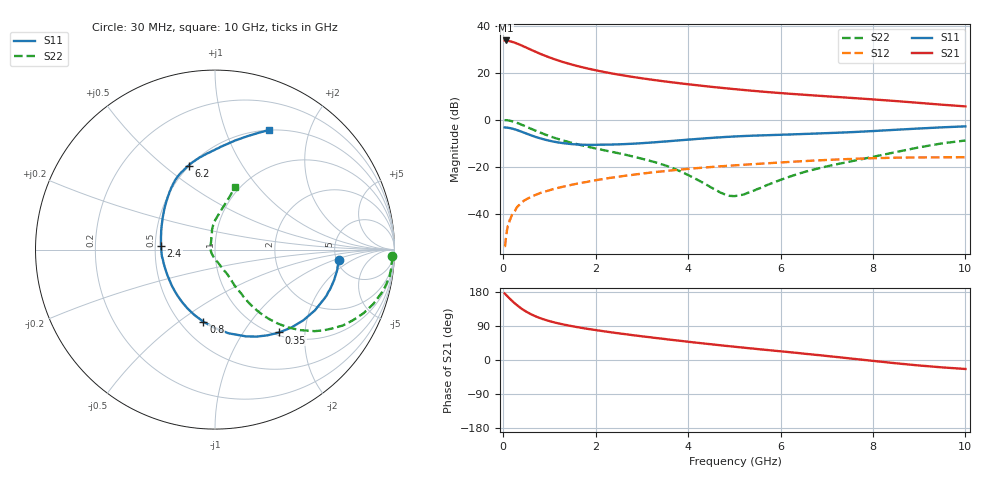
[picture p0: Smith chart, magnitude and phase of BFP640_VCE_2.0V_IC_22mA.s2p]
! Infineon Technologies  Discrete & RF Semiconductors
! BFP640
! VCE =  2.0 V,  IC =  22 mA
! Common Emitter S-Parameters:  Apr 2013
# GHz  S  MA  R  50
!  f  S11  S21  S12  S22
! GHz  MAG  ANG  MAG  ANG  MAG  ANG  MAG  ANG
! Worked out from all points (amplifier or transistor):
!   99 points, 30 MHz to 10 GHz, reference 50 ohm
!   highest |S21| = 33.7 dB at 50 MHz (marker M1)
!   |S21| within 3 dB of that: start of sweep to 496.3 MHz
!   unconditionally stable (mu >= 1): 2.622 GHz to end of sweep
!   at 350 MHz: K = 0.30, MSG = 34.0 dB, |S12| = -36.0 dB
!   at 3.5 GHz: K = 1.04, MAG = 17.8 dB, |S12| = -21.7 dB
!   at 10 GHz: K = 1.07, MAG = 9.2 dB, |S12| = -15.8 dB
!   S11 on the Smith chart (normalised r, x): 30 MHz: 5.30, -1.14; 350 MHz: 1.05, -1.48; 800 MHz: 0.64, -0.62; 2.4 GHz: 0.54, +0.02; 6.2 GHz: 0.49, +0.61; 10 GHz: 0.50, +1.42
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0.03  0.6949 -4.6  48.35 175.7  0.0021 73.5  0.9878 -2.1
0.05  0.6897 -7.7  48.44 173.4  0.0026 94.6  0.9874 -4.4
0.11  0.6801 -17.5  47.47 165.8  0.0057 79.3  0.9769 -10.5
0.15  0.6684 -23.9  46.54 160.9  0.0077 79.0  0.9595 -14.5
0.2  0.6515 -31.3  44.99 155.1  0.0103 76.7  0.9325 -19.0
0.25  0.6307 -38.6  43.42 149.6  0.0116 74.3  0.9002 -23.2
0.35  0.5844 -52.2  39.68 139.7  0.0158 69.5  0.8282 -30.7
0.45  0.5373 -64.4  35.94 131.2  0.0194 65.9  0.7544 -36.6
0.6  0.4724 -80.8  30.81 120.8  0.0234 62.4  0.6502 -43.6
0.7  0.4355 -90.5  27.87 115.2  0.0257 60.9  0.5911 -47.0
0.8  0.4069 -99.2  25.27 110.4  0.0281 59.4  0.5394 -49.7
1  0.3618 -115.1  21.16 102.6  0.0322 58.0  0.4534 -53.8
1.2  0.3316 -128.7  18.09 96.4  0.0365 56.5  0.3908 -56.2
1.4  0.313 -140.5  15.75 91.3  0.0404 55.6  0.3436 -57.8
1.7  0.2982 -156.1  13.17 84.7  0.0465 54.0  0.2888 -59.0
2.4  0.3014 176.1  9.497 72.0  0.0604 50.2  0.2054 -61.9
3.4  0.3429 148.0  6.741 56.7  0.0803 42.8  0.1169 -67.9
5.1  0.4498 118.8  4.408 33.8  0.1103 28.6  0.0249 177.2
6.2  0.4902 107.5  3.588 20.6  0.1285 19.6  0.0626 109.4
6.7  0.5115 101.9  3.318 14.4  0.1369 15.0  0.0878 102.1
8.5  0.6184 79.5  2.509 -8.7  0.1582 -2.9  0.2082 82.7
10  0.7298 65.8  1.936 -23.7  0.1616 -14.8  0.3661 72.5
